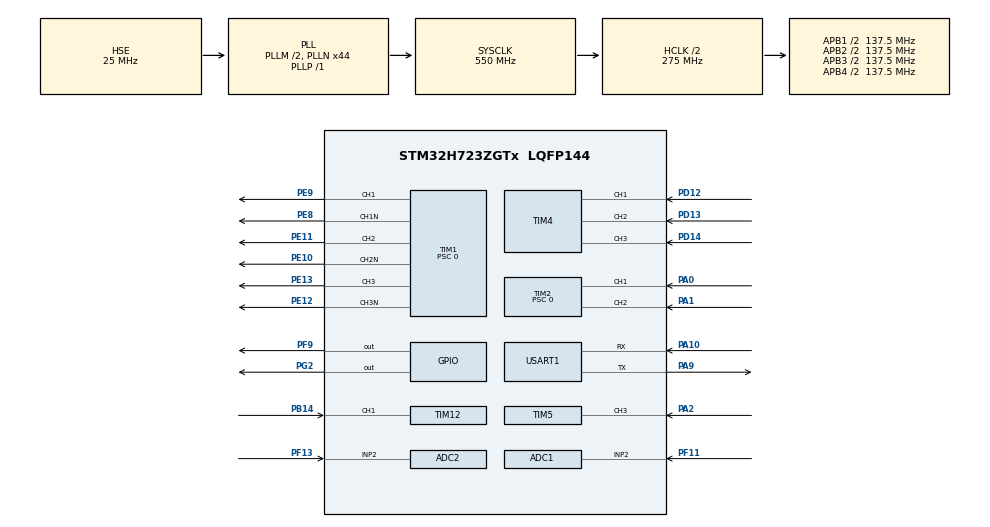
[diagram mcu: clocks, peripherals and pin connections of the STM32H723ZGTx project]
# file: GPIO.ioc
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ADC1.ClockPrescaler=ADC_CLOCK_SYNC_PCLK_DIV1
ADC1.ContinuousConvMode=DISABLE
ADC1.EOCSelection=ADC_EOC_SEQ_CONV
ADC1.EnableInjectedConversion=ENABLE
ADC1.EnableRegularConversion=DISABLE
ADC1.ExternalTrigInjecConv=ADC_EXTERNALTRIGINJEC_T1_TRGO
ADC1.InjNumberOfConversion=1
ADC1.InjectedChannel-18\#ChannelInjectedConversion=ADC_CHANNEL_2
ADC1.InjectedOffsetNumber-18\#ChannelInjectedConversion=ADC_OFFSET_NONE
ADC1.InjectedOffsetSaturation-18\#ChannelInjectedConversion=DISABLE
ADC1.InjectedOffsetSignedSaturation-18\#ChannelInjectedConversion=DISABLE
ADC1.InjectedRank-18\#ChannelInjectedConversion=1
ADC1.InjectedSamplingTime-18\#ChannelInjectedConversion=ADC_SAMPLETIME_8CYCLES_5
ADC1.Mode=ADC_DUALMODE_INJECSIMULT
ADC1.Resolution=ADC_RESOLUTION_12B
ADC1.master=1
ADC2.ClockPrescaler=ADC_CLOCK_SYNC_PCLK_DIV1
ADC2.EOCSelection=ADC_EOC_SEQ_CONV
ADC2.EnableInjectedConversion=ENABLE
ADC2.EnableRegularConversion=DISABLE
ADC2.InjNumberOfConversion=1
ADC2.InjectedChannel-20\#ChannelInjectedConversion=ADC_CHANNEL_2
ADC2.InjectedOffsetNumber-20\#ChannelInjectedConversion=ADC_OFFSET_NONE
ADC2.InjectedOffsetSaturation-20\#ChannelInjectedConversion=DISABLE
ADC2.InjectedRank-20\#ChannelInjectedConversion=1
ADC2.InjectedSamplingTime-20\#ChannelInjectedConversion=ADC_SAMPLETIME_8CYCLES_5
ADC2.Mode=ADC_DUALMODE_INJECSIMULT
ADC2.Resolution=ADC_RESOLUTION_12B
CORTEX_M7.default_mode_Activation=1
Dma.Request0=USART1_RX
Dma.Request1=USART1_TX
Dma.USART1_RX.0.Direction=DMA_PERIPH_TO_MEMORY
Dma.USART1_RX.0.EventEnable=DISABLE
Dma.USART1_RX.0.FIFOMode=DMA_FIFOMODE_DISABLE
Dma.USART1_RX.0.Instance=DMA1_Stream0
Dma.USART1_RX.0.MemDataAlignment=DMA_MDATAALIGN_BYTE
Dma.USART1_RX.0.MemInc=DMA_MINC_ENABLE
Dma.USART1_RX.0.Mode=DMA_CIRCULAR
Dma.USART1_RX.0.PeriphDataAlignment=DMA_PDATAALIGN_BYTE
Dma.USART1_RX.0.PeriphInc=DMA_PINC_DISABLE
Dma.USART1_RX.0.Polarity=HAL_DMAMUX_REQ_GEN_RISING
Dma.USART1_RX.0.Priority=DMA_PRIORITY_LOW
Dma.USART1_RX.0.RequestNumber=1
Dma.USART1_RX.0.SignalID=NONE
Dma.USART1_RX.0.SyncEnable=DISABLE
Dma.USART1_RX.0.SyncPolarity=HAL_DMAMUX_SYNC_NO_EVENT
Dma.USART1_RX.0.SyncRequestNumber=1
Dma.USART1_RX.0.SyncSignalID=NONE
Dma.USART1_TX.1.Direction=DMA_MEMORY_TO_PERIPH
Dma.USART1_TX.1.EventEnable=DISABLE
Dma.USART1_TX.1.FIFOMode=DMA_FIFOMODE_DISABLE
Dma.USART1_TX.1.Instance=DMA1_Stream1
Dma.USART1_TX.1.MemDataAlignment=DMA_MDATAALIGN_BYTE
Dma.USART1_TX.1.MemInc=DMA_MINC_ENABLE
Dma.USART1_TX.1.Mode=DMA_NORMAL
Dma.USART1_TX.1.PeriphDataAlignment=DMA_PDATAALIGN_BYTE
Dma.USART1_TX.1.PeriphInc=DMA_PINC_DISABLE
Dma.USART1_TX.1.Polarity=HAL_DMAMUX_REQ_GEN_RISING
Dma.USART1_TX.1.Priority=DMA_PRIORITY_LOW
Dma.USART1_TX.1.RequestNumber=1
Dma.USART1_TX.1.SignalID=NONE
Dma.USART1_TX.1.SyncEnable=DISABLE
Dma.USART1_TX.1.SyncPolarity=HAL_DMAMUX_SYNC_NO_EVENT
Dma.USART1_TX.1.SyncRequestNumber=1
Dma.USART1_TX.1.SyncSignalID=NONE
Mcu.Family=STM32H7
Mcu.Name=STM32H723ZGTx
Mcu.Package=LQFP144
Mcu.UserConstants=speed_calc_freq_for_encoder,MOTOR_SPEED_CALC_FREQ_FOR_ENCODER;pwm_freq,MOTOR_PWM_FREQ;speed_calc_freq,MOTOR_SPEED_CALC_FREQ
NVIC.ADC_IRQn=true\:1\:0\:true\:false\:true\:true\:true\:true
NVIC.DMA1_Stream0_IRQn=true\:0\:0\:false\:false\:true\:false\:true\:true
NVIC.DMA1_Stream1_IRQn=true\:0\:0\:false\:false\:true\:false\:true\:true
NVIC.PriorityGroup=NVIC_PRIORITYGROUP_4
NVIC.RCC_IRQn=true\:0\:0\:false\:false\:true\:true\:false\:true
NVIC.TIM3_IRQn=true\:1\:0\:true\:false\:true\:true\:true\:true
NVIC.TIM4_IRQn=true\:1\:0\:true\:false\:true\:true\:true\:true
NVIC.TIM5_IRQn=true\:1\:0\:true\:false\:true\:true\:true\:true
NVIC.TIM6_DAC_IRQn=true\:0\:0\:false\:false\:true\:true\:true\:true
NVIC.TIM8_BRK_TIM12_IRQn=true\:0\:0\:false\:false\:true\:true\:true\:true
NVIC.USART1_IRQn=true\:0\:0\:false\:false\:true\:true\:true\:true
PA0.Signal=S_TIM2_CH1_ETR
PA1.Signal=S_TIM2_CH2
PA10.Mode=Asynchronous
PA10.Signal=USART1_RX
PA13(JTMS/SWDIO).Mode=Serial_Wire
PA13(JTMS/SWDIO).Signal=DEBUG_JTMS-SWDIO
PA14(JTCK/SWCLK).Mode=Serial_Wire
PA14(JTCK/SWCLK).Signal=DEBUG_JTCK-SWCLK
PA2.Signal=S_TIM5_CH3
PA9.Mode=Asynchronous
PA9.Signal=USART1_TX
PB14.Signal=S_TIM12_CH1
PD12.Signal=S_TIM4_CH1
PD13.Signal=S_TIM4_CH2
PD14.Signal=S_TIM4_CH3
PE10.Mode=PWM Generation2 CH2 CH2N
PE10.Signal=TIM1_CH2N
PE11.Signal=S_TIM1_CH2
PE12.Mode=PWM Generation3 CH3 CH3N
PE12.Signal=TIM1_CH3N
PE13.Signal=S_TIM1_CH3
PE8.Mode=PWM Generation1 CH1 CH1N
PE8.Signal=TIM1_CH1N
PE9.Signal=S_TIM1_CH1
PF11.Mode=IN2-Single-Ended
PF11.Signal=ADC1_INP2
PF13.Mode=IN2-Single-Ended
PF13.Signal=ADC2_INP2
PF9.Signal=GPIO_Output
PG2.Signal=GPIO_Output
PH0-OSC_IN.Mode=HSE-External-Oscillator
PH0-OSC_IN.Signal=RCC_OSC_IN
PH1-OSC_OUT.Mode=HSE-External-Oscillator
PH1-OSC_OUT.Signal=RCC_OSC_OUT
ProjectManager.HeapSize=0x200
ProjectManager.StackSize=0x400
ProjectManager.TargetToolchain=MDK-ARM V5.32
RCC.ADCFreq_Value=100000000
RCC.APB1Freq_Value=137500000
RCC.APB2Freq_Value=137500000
RCC.APB3Freq_Value=137500000
RCC.APB4Freq_Value=137500000
RCC.CortexFreq_Value=550000000
RCC.D1PPRE=RCC_APB3_DIV2
RCC.D2PPRE1=RCC_APB1_DIV2
RCC.D2PPRE2=RCC_APB2_DIV2
RCC.D3PPRE=RCC_APB4_DIV2
RCC.DIVM1=2
RCC.DIVM2=2
RCC.DIVN1=44
RCC.DIVN2=16
RCC.DIVP1=1
RCC.HCLKFreq_Value=275000000
RCC.HPRE=RCC_HCLK_DIV2
RCC.PLLFRACN=0
RCC.PLLSourceVirtual=RCC_PLLSOURCE_HSE
RCC.SYSCLKFreq_VALUE=550000000
RCC.SYSCLKSource=RCC_SYSCLKSOURCE_PLLCLK
RCC.USBFreq_Value=275000000
SH.S_TIM12_CH1.0=TIM12_CH1,Input_Capture1_from_TI1
SH.S_TIM1_CH1.0=TIM1_CH1,PWM Generation1 CH1 CH1N
SH.S_TIM1_CH2.0=TIM1_CH2,PWM Generation2 CH2 CH2N
SH.S_TIM1_CH3.0=TIM1_CH3,PWM Generation3 CH3 CH3N
SH.S_TIM2_CH1_ETR.0=TIM2_CH1,Encoder_Interface
SH.S_TIM2_CH2.0=TIM2_CH2,Encoder_Interface
SH.S_TIM4_CH1.0=TIM4_CH1,Xored_Inputs_Hall_Sensor_Interface
SH.S_TIM4_CH2.0=TIM4_CH2,Xored_Inputs_Hall_Sensor_Interface
SH.S_TIM4_CH3.0=TIM4_CH3,Xored_Inputs_Hall_Sensor_Interface
SH.S_TIM5_CH3.0=TIM5_CH3,Input_Capture3_from_TI3
TIM1.AutoReloadPreload=TIM_AUTORELOAD_PRELOAD_ENABLE
TIM1.Channel-PWM\ Generation1\ CH1\ CH1N=TIM_CHANNEL_1
TIM1.Channel-PWM\ Generation2\ CH2\ CH2N=TIM_CHANNEL_2
TIM1.Channel-PWM\ Generation3\ CH3\ CH3N=TIM_CHANNEL_3
TIM1.ClockDivision=TIM_CLOCKDIVISION_DIV1
TIM1.CounterMode=TIM_COUNTERMODE_CENTERALIGNED3
TIM1.DeadTime=133
TIM1.Period=275*1000000/pwm_freq
TIM1.Prescaler=0
TIM1.RepetitionCounter=1
TIM1.TIM_MasterOutputTrigger=TIM_TRGO_UPDATE
TIM12.Channel-Input_Capture1_from_TI1=TIM_CHANNEL_1
TIM12.ICFilter_CH1=5
TIM12.Period=65535
TIM12.Prescaler=0
TIM2.EncoderMode=TIM_ENCODERMODE_TI12
TIM2.IC1Filter=7
TIM2.IC2Filter=7
TIM2.Period=4294967295
TIM2.Prescaler=0
TIM2.TIM_MasterOutputTrigger=TIM_TRGO_RESET
TIM2.TIM_MasterSlaveMode=TIM_MASTERSLAVEMODE_DISABLE
TIM3.AutoReloadPreload=TIM_AUTORELOAD_PRELOAD_ENABLE
TIM3.Period=999
TIM3.Prescaler=275-1
TIM5.Channel-Input_Capture3_from_TI3=TIM_CHANNEL_3
TIM5.ICFilter_CH3=7
TIM5.Period=4294967295
TIM5.Prescaler=274
TIM5.TIM_MasterOutputTrigger=TIM_TRGO_RESET
TIM6.Period=1000000/speed_calc_freq
TIM6.Prescaler=275-1
USART1.VirtualMode-Asynchronous=VM_ASYNC
VP_MEMORYMAP_VS_MEMORYMAP.Mode=CurAppReg
VP_TIM12_VS_ClockSourceINT.Mode=Internal
VP_TIM1_VS_ClockSourceINT.Mode=Internal
VP_TIM3_VS_ClockSourceINT.Mode=Internal
VP_TIM5_VS_ClockSourceINT.Mode=Internal
VP_TIM6_VS_ClockSourceINT.Mode=Enable_Timer
board=custom

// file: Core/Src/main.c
/* USER CODE BEGIN Header */
/**
 ******************************************************************************
 * @file           : main.c
 * @brief          : Main program body
 ******************************************************************************
 * @attention
 *
 * Copyright (c) 2025 STMicroelectronics.
 * All rights reserved.
 *
 * This software is licensed under terms that can be found in the LICENSE file
 * in the root directory of this software component.
 * If no LICENSE file comes with this software, it is provided AS-IS.
 *
 ******************************************************************************
 */
/* USER CODE END Header */
#include "main.h"
#include "adc.h"
#include "dma.h"
#include "tim.h"
#include "usart.h"
#include "gpio.h"

/* USER CODE BEGIN Includes */
#include "arm_math.h"
#include "stdbool.h"
#include "stdio.h"
#include "stdlib.h"
#include "string.h"
#include "sensor.h"
#include "adc_driver.h"
#include "svpwm.h"
#include "uart_dma_lib.h"
#include "pid.h"
#include "foc_transform.h"
#include "pi_control.h"
#include "scurve_ramp.h"
#include "multi_ramp.h"
#include "smo.h"

/* USER CODE END Includes */

/* USER CODE BEGIN PTD */
/*PID*/
PID_HandleTypeDef pid_speed;
PID_HandleTypeDef pid_id;
PID_HandleTypeDef pid_iq;

PI_Clamping pi_speed;
PI_Clamping pi_id;
PI_Clamping pi_iq;
SCurve_Profile s_ramp;
MultiRamp_Gen ramp;
/* USER CODE END PTD */

/* USER CODE BEGIN PV */
		/* Sensor variables */
float elec_angle_rad_hall;          /* Electrical angle (rad) */
float elec_angle_rad_encoder;
float mech_angle_rad_encoder;          /* Mechanical angle (rad) */
float mech_angle_deg;
float elec_angle_deg;
float raw_angle;

uint8_t hall_step;             /* Current Hall step (1..6) */

/* Current measurement variables */
float iu, iv,iw;                  								 /* Phase A, B,C currents (A) */

float i_alpha, i_beta , v_alpha , v_beta;          /* Stationary frame currents */

float i_d = 0 , i_q = 0 , i_q_ref = 0 , i_d_ref = 0;             /* Rotating frame currents */

float v_d = 0.0f , v_q = 0.0f;

int state = 0;

int state_Z=0;

int dir =1;
float threshold;

/*PID*/
float speed_mechanic_rad;
float speed_ref_rpm = 1000.0f;      // T?c d? d?t (RPM)
float speed_mechanic_rpm = 0.0f;    // T?c d? h?i ti?p (RPM)
float speed_ref_rads = 100; // setpoint speed rad/s

//smo

//smo
typedef enum {
    SS_ALIGN = 0,
    SS_OPENLOOP,
    SS_SWITCH,
    SS_RUN
} SensorlessSubState;

SensorlessSubState state_smo = SS_ALIGN;
float ss_align_timer = 0.0f;
float ss_openloop_theta = 0.0f;
float ss_openloop_omega = 0.0f;
float ss_switch_timer = 0.0f;

SMO_Handle smo;                 // Đối tượng SMO toàn cục
float theta_smo, omega_smo;     // Góc và tốc độ từ SMO

float speed_mechanic_rad_smo;

/* USER CODE END PV */

void SystemClock_Config(void);
static void MPU_Config(void);
/* USER CODE BEGIN PFP */
void Calib(void);
void Align_Process(void);
float value_offset;
/* USER CODE END PFP */

/* USER CODE BEGIN 0 */
/* FOC loop interrupt (e.g., 10 kHz) */

void HAL_TIM_PeriodElapsedCallback(TIM_HandleTypeDef *htim)
{
    if (htim->Instance == TIM6)   // FOC loop (10kHz)
    {
				value_offset =ADC_Driver_GetOffset_IV();
        elec_angle_rad_hall = Sensor_Get_Electrical_Angle_Hall();

				raw_angle = Encoder_Get_Raw_Angle();
				elec_angle_rad_encoder = Encoder_Get_Electric_Angle();
				mech_angle_rad_encoder = Encoder_Get_Mechanic_Angle();
				hall_step = Hall_GetStep();

				speed_mechanic_rad = Encoder_Get_Mechanic_Speed();
        float omega_e = speed_mechanic_rad * POLE_PAIRS;

        // ----- D? do�n g�c di?n (b� tr?) -----
        float Ts = 1.0f / MOTOR_SPEED_CALC_FREQ;          // 25e-6 s
        float t_delay = 3.87e-6f;                         // 3.87 �s
        float theta_pred = elec_angle_rad_encoder + omega_e * (Ts + t_delay);
        theta_pred = fmodf(theta_pred, 2.0f * M_PI);
        if (theta_pred < 0.0f) theta_pred += 2.0f * M_PI;

        iu = ADC_Driver_GetCurrents_1();
        iv = ADC_Driver_GetCurrents_2();
        iw = ADC_Driver_GetCurrents_3();

				  if (state == 1)
					{
						HAL_GPIO_WritePin(GPIOF, GPIO_PIN_9, GPIO_PIN_SET);
					FOC_InvPark(0.8, 0, 0, &v_alpha, &v_beta);
					SVPWM_Update(v_alpha, v_beta, iu, iv, iw);
					Encoder_Reset();
					v_d=0;
					v_q=0;
					}
					else if (state==2) {
						HAL_GPIO_WritePin(GPIOF, GPIO_PIN_9, GPIO_PIN_SET);
					HAL_GPIO_WritePin(GPIOG, GPIO_PIN_2, GPIO_PIN_SET);
					//SCurve_Update(&s_ramp, speed_ref_rads);
					MultiRamp_Update(&ramp,speed_ref_rads);

					FOC_Clarke(iu, iv, iw, &i_alpha, &i_beta);
					FOC_Park(i_alpha, i_beta, theta_pred, &i_d, &i_q);

					i_q_ref = PID_Compute(&pid_speed, speed_ref_rads, speed_mechanic_rad);
					v_q = PID_Compute(&pid_iq, i_q_ref, i_q);
					v_d = PID_Compute(&pid_id, 0,i_d);

//						i_q_ref = PI_Update(&pi_speed,speed_ref_rads,speed_mechanic_rad);
//						v_q = PI_Update(&pi_iq,i_q_ref, i_q);
//						v_d = PI_Update(&pi_id,0, i_d);
					FOC_InvPark(v_d, v_q, theta_pred, &v_alpha, &v_beta);
					SVPWM_Update(v_alpha, v_beta, iu, iv, iw);

					HAL_GPIO_WritePin(GPIOG, GPIO_PIN_2, GPIO_PIN_RESET);

					}
					else if(state ==3){
						HAL_GPIO_WritePin(GPIOF, GPIO_PIN_9, GPIO_PIN_SET);
						FOC_InvPark(v_d, v_q, elec_angle_rad_encoder, &v_alpha, &v_beta);
						SVPWM_Update(v_alpha, v_beta, iu, iv, iw);
					}
else if (state == 4) {
    HAL_GPIO_WritePin(GPIOF, GPIO_PIN_9, GPIO_PIN_SET);
    float dt = 1.0f / MOTOR_SPEED_CALC_FREQ;

    // 1. Đọc dòng và biến đổi Clarke
    FOC_Clarke(iu, iv, iw, &i_alpha, &i_beta);

    // 2. Xác định góc, dòng đặt và trạng thái khởi động
    float theta_e, omega_e;
    float id_ref_local = 0.0f, iq_ref_local = 0.0f;

    switch (state_smo) {
        case SS_ALIGN: {
            // Căn chỉnh rotor: Id = 0.8A, Iq = 0, góc = 0 rad trong 1 giây
            theta_e = 0.0f;
            omega_e = 0.0f;
            id_ref_local = 0.8f;
            iq_ref_local = 0.0f;

            ss_align_timer += dt;
            if (ss_align_timer >= 1.0f) {
                state_smo = SS_OPENLOOP;
                ss_openloop_omega = 0.0f;
                ss_openloop_theta = 0.0f;
                ss_align_timer = 0.0f;
            }
            break;
        }

        case SS_OPENLOOP: {
            // Tăng tốc ảo (100 rad/s mỗi giây)
            ss_openloop_omega += 100.0f * dt;
            ss_openloop_theta += ss_openloop_omega * dt;
            ss_openloop_theta = fmodf(ss_openloop_theta, 2.0f * M_PI);
            if (ss_openloop_theta < 0) ss_openloop_theta += 2.0f * M_PI;

            // Dùng góc ảo để điều khiển, SMO chạy nền (chỉ để hội tụ)
            theta_e = ss_openloop_theta;
            omega_e = ss_openloop_omega;
            id_ref_local = 0.8f;   // giữ dòng từ hóa
            iq_ref_local = 0.0f;   // không mô‑men

            // Điều kiện chuyển: tốc độ ảo đạt omega_min (167.5 rad/s điện với 400rpm, 4 cặp cực)
            if (ss_openloop_omega >= smo.omega_min) {
                state_smo = SS_SWITCH;
                ss_switch_timer = 0.0f;
            }
            break;
        }

        case SS_SWITCH: {
            // Vẫn open‑loop, chờ SMO hội tụ (kiểm tra sai số dòng)
            theta_e = ss_openloop_theta;
            omega_e = ss_openloop_omega;
            id_ref_local = 0.8f;
            iq_ref_local = 0.0f;

            // Điều kiện chuyển sang vòng kín: dòng ước lượng bám sát dòng thực
            if (fabsf(smo.ialpha_est - i_alpha) < 0.3f &&
                fabsf(smo.ibeta_est - i_beta) < 0.3f) {
                state_smo = SS_RUN;
            }
            break;
        }

        case SS_RUN: {
            // Vòng kín sensorless: dùng góc và tốc độ từ SMO
            theta_e = SMO_GetCompensatedTheta(&smo);
            omega_e = SMO_GetOmega(&smo);
            id_ref_local = 0.0f;   // Id = 0 control
            speed_mechanic_rad_smo = omega_e / POLE_PAIRS;
            iq_ref_local = PID_Compute(&pid_speed, speed_ref_rads, speed_mechanic_rad_smo);
            break;
        }
    }

    // 3. Biến đổi Park với góc đã chọn
    FOC_Park(i_alpha, i_beta, theta_e, &i_d, &i_q);

    // 4. Vòng điều khiển dòng điện (PID)
    v_d = PID_Compute(&pid_id, id_ref_local, i_d);
    v_q = PID_Compute(&pid_iq, iq_ref_local, i_q);

    // 5. Park nghịch → điện áp alpha/beta
    FOC_InvPark(v_d, v_q, theta_e, &v_alpha, &v_beta);

    // 6. Luôn cập nhật SMO với điện áp và dòng đo được (đúng bài báo)
    SMO_Update(&smo, v_alpha, v_beta, i_alpha, i_beta, dt);

    // 7. Cập nhật PWM
    SVPWM_Update(v_alpha, v_beta, iu, iv, iw);
}

					else if(state ==0){

						HAL_GPIO_WritePin(GPIOF, GPIO_PIN_9, GPIO_PIN_RESET);
						v_alpha = 0.0f; v_beta = 0.0f;
						SVPWM_Update(v_alpha, v_beta, iu, iv, iw);
						// Reset sensorless state
						state_smo = SS_ALIGN;
						ss_align_timer = 0.0f;
					}
    }
		else if (htim->Instance == TIM3)
		{
			EncoderSensor_Update();
		}
}

void HAL_TIM_IC_CaptureCallback(TIM_HandleTypeDef *htim)
{
    if (htim->Instance == TIM5 && htim->Channel == HAL_TIM_ACTIVE_CHANNEL_3)
    {
        uint32_t cap_val = HAL_TIM_ReadCapturedValue(&htim5, TIM_CHANNEL_3);
        Encoder_Capture_Handler(cap_val);
    }
    else if (htim->Instance == TIM4 && htim->Channel == HAL_TIM_ACTIVE_CHANNEL_1)
    {
        HallSensor_Update();
    }
    else if (htim->Instance == TIM12)
    {
        // Z-pulse nếu cần
    }
}

/* USER CODE END 0 */

int main(void)
{

  /* MPU Configuration--------------------------------------------------------*/
  MPU_Config();

  /* MCU Configuration--------------------------------------------------------*/

  /* Reset of all peripherals, Initializes the Flash interface and the Systick. */
  HAL_Init();

  /* Configure the system clock */
  SystemClock_Config();

  /* Initialize all configured peripherals */
  MX_GPIO_Init();
  MX_DMA_Init();
  MX_TIM1_Init();
  MX_TIM3_Init();
  MX_TIM2_Init();
  MX_TIM4_Init();
  MX_TIM5_Init();
  MX_ADC1_Init();
  MX_ADC2_Init();
  MX_USART1_UART_Init();
  MX_TIM12_Init();
  MX_TIM6_Init();
  /* USER CODE BEGIN 2 */

		//center-alinge
		SVPWM_Init(&htim1, VDC_BUS, (float)MOTOR_PWM_FREQ, htim1.Init.Period);
		SVPWM_Start();
    HAL_TIM_Base_Start_IT(&TIM_FOC_LOOP);
		HAL_TIM_Base_Start_IT(&TIM_SPEED_CALC);
		/* ======================== ADC sensor ======================== */
		ADC_Driver_Init();
		ADC_Driver_CalibrateOffset();
		/* ======================== Hall sensor ======================== */
		Hall_Sensor_Init();
		HallSensor_Update();
		/* ======================== Encoder sensor ======================== */
		Encoder_Sensor_Init();

		/* ======================== UART sensor ======================== */
		MX_USART1_UART_Init();
		UART_DMA_Init();
		UART_DMA_SendString("UART DMA with IDLE+HT/TC ready\r\n");
		/* ======================== PID ======================== */

		PID_Init(&pid_iq, 12.0f, 5830.0f, 0.0f, 1/MOTOR_SPEED_CALC_FREQ , VDC_BUS/SQRT3, -VDC_BUS/SQRT3);
		PID_Init(&pid_id, 12.0f, 5830.0f, 0.0f, 1/MOTOR_SPEED_CALC_FREQ , VDC_BUS/SQRT3, -VDC_BUS/SQRT3);
		//PID_Init(&pid_speed, 0.06f, 0.0005f, 0.0f, 1/MOTOR_SPEED_CALC_FREQ , 2.8, -2.8);
		PID_Init(&pid_speed, 0.0053f, 2.37f, 0.0f, 1/MOTOR_SPEED_CALC_FREQ, 2.8f, -2.8f);
		PI_Init(&pi_speed,0.1125,0.9375,1/MOTOR_SPEED_CALC_FREQ,10.0f,-10.0f);
		PI_Init(&pi_id,237.6697,11330,1/MOTOR_SPEED_CALC_FREQ,VDC_BUS/SQRT3,-VDC_BUS/SQRT3);
		PI_Init(&pi_iq,237.6697,11330,1/MOTOR_SPEED_CALC_FREQ,VDC_BUS/SQRT3,-VDC_BUS/SQRT3);

		SCurve_Init(&s_ramp,1/MOTOR_SPEED_CALC_FREQ,1,1,1);

		MultiRamp_Init(&ramp,1/MOTOR_SPEED_CALC_FREQ,5,10,10,20,20);
		/* ======================== SMO ======================== */

		SMO_Init(&smo, MOTOR_RS, MOTOR_LS, MOTOR_PSI_F, POLE_PAIRS,
         3000.0f, 900.0f, 1.0f / MOTOR_SPEED_CALC_FREQ);
  /* USER CODE END 2 */

  /* Infinite loop */
     while (1)
    {

    }
}

void SystemClock_Config(void)
{
  RCC_OscInitTypeDef RCC_OscInitStruct = {0};
  RCC_ClkInitTypeDef RCC_ClkInitStruct = {0};

  /** Supply configuration update enable
  */
  HAL_PWREx_ConfigSupply(PWR_LDO_SUPPLY);

  /** Configure the main internal regulator output voltage
  */
  __HAL_PWR_VOLTAGESCALING_CONFIG(PWR_REGULATOR_VOLTAGE_SCALE0);

  while(!__HAL_PWR_GET_FLAG(PWR_FLAG_VOSRDY)) {}

  /** Initializes the RCC Oscillators according to the specified parameters
  * in the RCC_OscInitTypeDef structure.
  */
  RCC_OscInitStruct.OscillatorType = RCC_OSCILLATORTYPE_HSE;
  RCC_OscInitStruct.HSEState = RCC_HSE_ON;
  RCC_OscInitStruct.PLL.PLLState = RCC_PLL_ON;
  RCC_OscInitStruct.PLL.PLLSource = RCC_PLLSOURCE_HSE;
  RCC_OscInitStruct.PLL.PLLM = 2;
  RCC_OscInitStruct.PLL.PLLN = 44;
  RCC_OscInitStruct.PLL.PLLP = 1;
  RCC_OscInitStruct.PLL.PLLQ = 2;
  RCC_OscInitStruct.PLL.PLLR = 2;
  RCC_OscInitStruct.PLL.PLLRGE = RCC_PLL1VCIRANGE_3;
  RCC_OscInitStruct.PLL.PLLVCOSEL = RCC_PLL1VCOWIDE;
  RCC_OscInitStruct.PLL.PLLFRACN = 0;
  if (HAL_RCC_OscConfig(&RCC_OscInitStruct) != HAL_OK)
  {
    Error_Handler();
  }

  /** Initializes the CPU, AHB and APB buses clocks
  */
  RCC_ClkInitStruct.ClockType = RCC_CLOCKTYPE_HCLK|RCC_CLOCKTYPE_SYSCLK
                              |RCC_CLOCKTYPE_PCLK1|RCC_CLOCKTYPE_PCLK2
                              |RCC_CLOCKTYPE_D3PCLK1|RCC_CLOCKTYPE_D1PCLK1;
  RCC_ClkInitStruct.SYSCLKSource = RCC_SYSCLKSOURCE_PLLCLK;
  RCC_ClkInitStruct.SYSCLKDivider = RCC_SYSCLK_DIV1;
  RCC_ClkInitStruct.AHBCLKDivider = RCC_HCLK_DIV2;
  RCC_ClkInitStruct.APB3CLKDivider = RCC_APB3_DIV2;
  RCC_ClkInitStruct.APB1CLKDivider = RCC_APB1_DIV2;
  RCC_ClkInitStruct.APB2CLKDivider = RCC_APB2_DIV2;
  RCC_ClkInitStruct.APB4CLKDivider = RCC_APB4_DIV2;

  if (HAL_RCC_ClockConfig(&RCC_ClkInitStruct, FLASH_LATENCY_3) != HAL_OK)
  {
    Error_Handler();
  }
}

 /* MPU Configuration */

void MPU_Config(void)
{
  MPU_Region_InitTypeDef MPU_InitStruct = {0};

  /* Disables the MPU */
  HAL_MPU_Disable();

  /** Initializes and configures the Region and the memory to be protected
  */
  MPU_InitStruct.Enable = MPU_REGION_ENABLE;
  MPU_InitStruct.Number = MPU_REGION_NUMBER0;
  MPU_InitStruct.BaseAddress = 0x0;
  MPU_InitStruct.Size = MPU_REGION_SIZE_4GB;
  MPU_InitStruct.SubRegionDisable = 0x87;
  MPU_InitStruct.TypeExtField = MPU_TEX_LEVEL0;
  MPU_InitStruct.AccessPermission = MPU_REGION_NO_ACCESS;
  MPU_InitStruct.DisableExec = MPU_INSTRUCTION_ACCESS_DISABLE;
  MPU_InitStruct.IsShareable = MPU_ACCESS_SHAREABLE;
  MPU_InitStruct.IsCacheable = MPU_ACCESS_NOT_CACHEABLE;
  MPU_InitStruct.IsBufferable = MPU_ACCESS_NOT_BUFFERABLE;

  HAL_MPU_ConfigRegion(&MPU_InitStruct);
  /* Enables the MPU */
  HAL_MPU_Enable(MPU_PRIVILEGED_DEFAULT);

}

void Error_Handler(void)
{
    __disable_irq();
    while (1)
    {
    }
}
